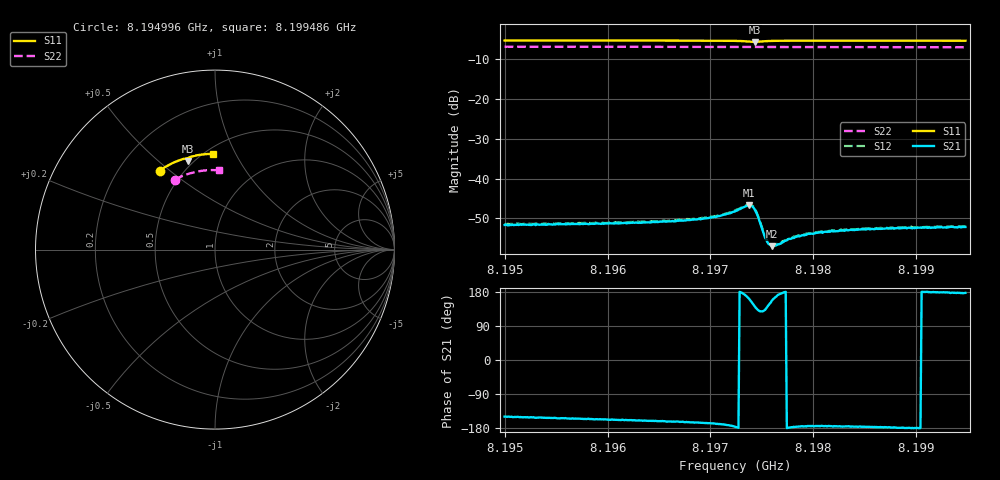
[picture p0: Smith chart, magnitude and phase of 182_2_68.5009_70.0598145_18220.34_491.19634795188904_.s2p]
#  HZ  S  RI  R  50.00
! Rohde & Schwarz Vector Network Analyzer
! Rohde-Schwarz,ZNB20-2Port,1311601062101988,3.16
! Created: UTC 3/20/2024, 5:11:53 PM
! freq[Hz]  re:S11  im:S11  re:S21  im:S21  re:S12  im:S12  re:S22  im:S22
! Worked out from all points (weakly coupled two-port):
!   401 points, 8.194996 GHz to 8.199486 GHz, reference 50 ohm
!   highest |S21| = -46.68 dB at 8.197376 GHz (marker M1); lowest = -56.9 dB at 8.1976 GHz (marker M2)
!   lowest |S11| = -5.7 dB at 8.197432 GHz (marker M3), VSWR 3.13, Z = 23.4 + j31.6 ohm
!   |S11| at or under -10 dB: nowhere
!   |S22| runs from -7.1 to -6.9 dB; largest |S21 - S12| = 0.00021
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8.1949964e9  -0.3089 0.4403  -0.00227 -0.00133  -0.00238 -0.00131  -0.2237 0.3901
8.1957483e9  -0.2633 0.4682  -0.00247 -0.00114  -0.00257 -0.00105  -0.1856 0.4084
8.1965003e9  -0.215 0.4915  -0.00273 -0.000916  -0.00283 -0.000858  -0.1458 0.4229
8.1969604e9  -0.1827 0.5032  -0.00308 -0.000756  -0.00319 -0.000634  -0.1208 0.4298
8.1970727e9  -0.174 0.5056  -0.0033 -0.000674  -0.00338 -0.000562  -0.1147 0.4314
8.197241e9  -0.1593 0.5073  -0.00387 -0.000282  -0.00398 -0.000139  -0.1054 0.4333
8.1973308e9  -0.1501 0.5046  -0.0044 0.000507  -0.00444 0.000694  -0.1004 0.4342
8.1973757e9  -0.1468 0.5002  -0.00441 0.00141  -0.00442 0.0016  -0.0979 0.4345
8.1974093e9  -0.1473 0.4959  -0.0039 0.00221  -0.00391 0.00239  -0.096 0.4348
8.1974318e9  -0.1497 0.494  -0.00326 0.00255  -0.00322 0.00273  -0.095 0.435
8.1974655e9  -0.1538 0.4948  -0.00222 0.00249  -0.00212 0.00265  -0.0932 0.4354
8.1975216e9  -0.1557 0.5017  -0.00131 0.00155  -0.00131 0.00161  -0.0903 0.4361
8.197544e9  -0.1548 0.5043  -0.00125 0.0012  -0.00122 0.00127  -0.089 0.4364
8.1975665e9  -0.1534 0.5066  -0.00124 0.000894  -0.00119 0.000936  -0.0878 0.4366
8.1976001e9  -0.1508 0.5093  -0.00131 0.000562  -0.00132 0.000636  -0.0859 0.437
8.1976675e9  -0.1452 0.5129  -0.00149 0.000184  -0.00149 0.000269  -0.0821 0.4377
8.197746e9  -0.1387 0.5157  -0.00169 -1.17e-05  -0.0017 6.05e-05  -0.0777 0.4383
8.1978358e9  -0.1316 0.518  -0.00186 -0.000121  -0.00189 -5.46e-05  -0.0725 0.439
8.1979929e9  -0.1199 0.5213  -0.00203 -0.000216  -0.00209 -0.00014  -0.0637 0.4401
8.1982511e9  -0.1011 0.5251  -0.00219 -0.000196  -0.00225 -0.000103  -0.0492 0.4416
8.1987449e9  -0.0658 0.5304  -0.00238 -0.00011  -0.00241 -9.29e-06  -0.0212 0.443
8.1994856e9  -0.0131 0.5335  -0.00247 0.000128  -0.00252 0.000261  0.0208 0.4417
